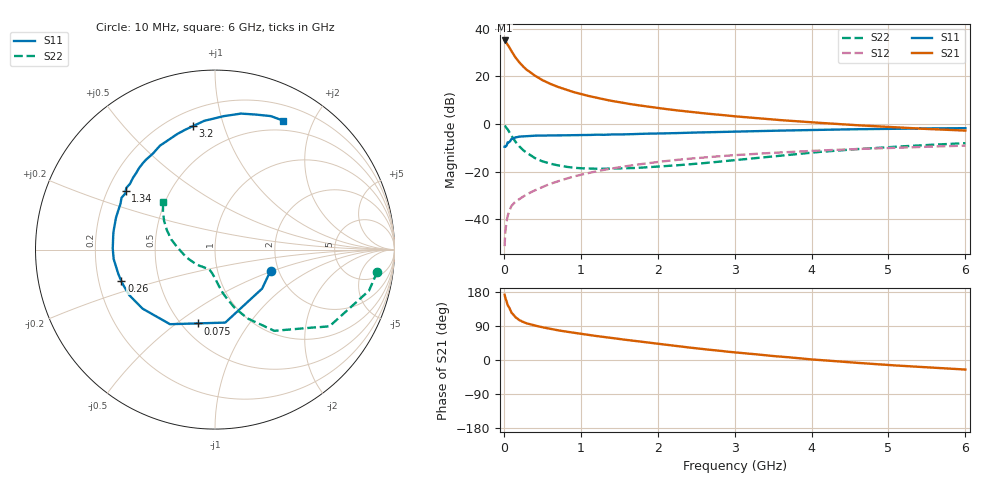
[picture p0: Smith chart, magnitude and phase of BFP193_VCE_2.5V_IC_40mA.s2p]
! Infineon Technologies  Discrete & RF Semiconductors
! BFP193
! VCE = 2.5 V,  IC =  40 mA
! Common Emitter S-Parameters:  Jan 2016
# GHz  S  MA  R  50
!  f  S11  S21  S12  S22
! GHz  MAG  ANG  MAG  ANG  MAG  ANG  MAG  ANG
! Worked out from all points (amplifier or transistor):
!   210 points, 10 MHz to 6 GHz, reference 50 ohm
!   highest |S21| = 35.1 dB at 10 MHz (marker M1)
!   |S21| within 3 dB of that: start of sweep to 72.45 MHz
!   unconditionally stable (mu >= 1): 556.1 MHz to 3.878 GHz
!   at 185 MHz: K = 0.67, MSG = 29.3 dB, |S12| = -32.0 dB
!   at 1.52 GHz: K = 1.07, MAG = 11.9 dB, |S12| = -18.1 dB
!   at 6 GHz: K = 0.94, MSG = 3.2 dB, |S12| = -9.1 dB
!   S11 on the Smith chart (normalised r, x): 10 MHz: 1.82, -0.48; 75 MHz: 0.60, -0.60; 260 MHz: 0.30, -0.15; 1.34 GHz: 0.28, +0.28; 3.2 GHz: 0.29, +0.79; 6 GHz: 0.38, +1.60
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0.01  0.3313 -20.8  56.63 172.2  0.0027 88.3  0.9128 -7.7
0.02  0.3408 -39.6  54.11 163.6  0.0055 78.8  0.8881 -14.9
0.05  0.4107 -82.0  46.48 144.7  0.0117 66.2  0.7678 -33.8
0.075  0.4224 -103.2  39.42 136.2  0.0153 61.0  0.654 -42.3
0.1  0.4854 -121.1  33.56 124.5  0.019 57.8  0.5601 -53.9
0.15  0.5206 -140.8  25 112.7  0.0231 54.8  0.423 -64.8
0.2  0.5407 -151.9  19.74 105.4  0.0261 55.1  0.3392 -71.6
0.26  0.5508 -161.3  15.56 99.6  0.0303 56.8  0.2733 -77.0
0.3  0.5555 -165.9  13.58 96.5  0.0333 58.4  0.2446 -79.9
0.4  0.5671 -174.7  10.39 90.9  0.0399 60.8  0.1931 -85.1
0.5  0.5698 179.3  8.33 86.3  0.047 61.9  0.1637 -89.2
0.6  0.5712 174.4  6.982 82.2  0.0548 63.3  0.1465 -93.0
0.7  0.5744 169.8  6.01 78.4  0.062 63.6  0.1346 -96.2
0.86  0.578 163.5  4.923 73.4  0.0748 63.0  0.1227 -101.2
1.02  0.5821 157.4  4.161 68.7  0.0867 62.4  0.1167 -105.7
1.34  0.5945 146.8  3.184 59.7  0.1109 59.7  0.1145 -115.5
2.02  0.6311 127.6  2.137 42.5  0.1598 51.7  0.1276 -137.6
3.1  0.6929 102.1  1.401 18.3  0.2256 37.8  0.1788 -172.4
3.2  0.6986 100.2  1.357 16.5  0.2307 36.6  0.1854 -175.3
4.1  0.7493 84.8  1.054 0.1  0.2756 25.8  0.2575 164.9
5.1  0.7896 71.9  0.847 -14.5  0.316 14.6  0.3321 149.1
6  0.8128 62.0  0.724 -25.2  0.3498 5.0  0.3937 137.2
